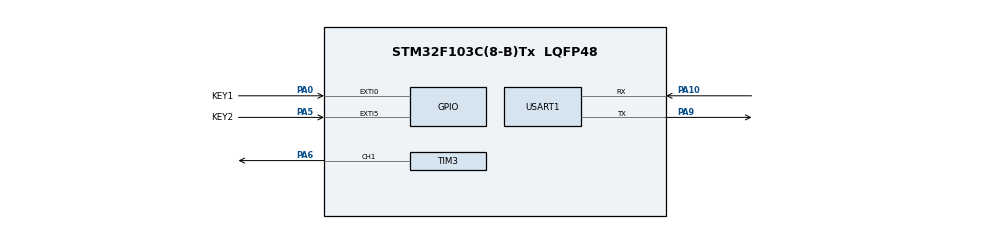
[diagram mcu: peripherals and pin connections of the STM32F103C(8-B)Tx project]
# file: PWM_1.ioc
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Mcu.Family=STM32F1
Mcu.Name=STM32F103C(8-B)Tx
Mcu.Package=LQFP48
NVIC.EXTI0_IRQn=true\:0\:0\:false\:false\:true\:true\:true\:true
NVIC.EXTI9_5_IRQn=true\:0\:0\:false\:false\:true\:true\:true\:true
NVIC.PriorityGroup=NVIC_PRIORITYGROUP_4
PA0-WKUP.GPIO_Label=KEY1
PA0-WKUP.Signal=GPXTI0
PA10.Mode=Asynchronous
PA10.Signal=USART1_RX
PA13.Mode=Serial_Wire
PA13.Signal=SYS_JTMS-SWDIO
PA14.Mode=Serial_Wire
PA14.Signal=SYS_JTCK-SWCLK
PA5.GPIO_Label=KEY2
PA5.Signal=GPXTI5
PA6.Signal=S_TIM3_CH1
PA9.Mode=Asynchronous
PA9.Signal=USART1_TX
ProjectManager.HeapSize=0x200
ProjectManager.StackSize=0x400
ProjectManager.TargetToolchain=MDK-ARM V5.32
RCC.APB1Freq_Value=8000000
RCC.APB2Freq_Value=8000000
SH.S_TIM3_CH1.0=TIM3_CH1,PWM Generation1 CH1
TIM3.Channel-PWM\ Generation1\ CH1=TIM_CHANNEL_1
TIM3.Period=199
TIM3.Prescaler=799
USART1.VirtualMode=VM_ASYNC
board=custom

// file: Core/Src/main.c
/* USER CODE BEGIN Header */
/**
  ******************************************************************************
  * @file           : main.c
  * @brief          : Main program body
  ******************************************************************************
  * @attention
  *
  * Copyright (c) 2022 STMicroelectronics.
  * All rights reserved.
  *
  * This software is licensed under terms that can be found in the LICENSE file
  * in the root directory of this software component.
  * If no LICENSE file comes with this software, it is provided AS-IS.
  *
  ******************************************************************************
  */
/* USER CODE END Header */
#include "main.h"
#include "tim.h"
#include "usart.h"
#include "gpio.h"

/* USER CODE BEGIN Includes */
#include <stdio.h>
/* USER CODE END Includes */

/* USER CODE BEGIN PD */
#define CCR_MAX 25  // CCR���ֵ
/* USER CODE END PD */

/* USER CODE BEGIN PV */
uint16_t CCR = 5;   // CCR��ʼֵ
uint16_t Step = 5;  // CCR����ֵ
/* USER CODE END PV */

void SystemClock_Config(void);

int main(void)
{

  /* MCU Configuration--------------------------------------------------------*/

  /* Reset of all peripherals, Initializes the Flash interface and the Systick. */
  HAL_Init();

  /* Configure the system clock */
  SystemClock_Config();

  /* Initialize all configured peripherals */
  MX_GPIO_Init();
  MX_TIM3_Init();
  MX_USART1_UART_Init();
  /* USER CODE BEGIN 2 */
  HAL_TIM_PWM_Start(&htim3, TIM_CHANNEL_1);
  /* USER CODE END 2 */

  /* Infinite loop */
  while (1)
  {

  }
}

void SystemClock_Config(void)
{
  RCC_OscInitTypeDef RCC_OscInitStruct = {0};
  RCC_ClkInitTypeDef RCC_ClkInitStruct = {0};

  /** Initializes the RCC Oscillators according to the specified parameters
  * in the RCC_OscInitTypeDef structure.
  */
  RCC_OscInitStruct.OscillatorType = RCC_OSCILLATORTYPE_HSI;
  RCC_OscInitStruct.HSIState = RCC_HSI_ON;
  RCC_OscInitStruct.HSICalibrationValue = RCC_HSICALIBRATION_DEFAULT;
  RCC_OscInitStruct.PLL.PLLState = RCC_PLL_NONE;
  if (HAL_RCC_OscConfig(&RCC_OscInitStruct) != HAL_OK)
  {
    Error_Handler();
  }

  /** Initializes the CPU, AHB and APB buses clocks
  */
  RCC_ClkInitStruct.ClockType = RCC_CLOCKTYPE_HCLK|RCC_CLOCKTYPE_SYSCLK
                              |RCC_CLOCKTYPE_PCLK1|RCC_CLOCKTYPE_PCLK2;
  RCC_ClkInitStruct.SYSCLKSource = RCC_SYSCLKSOURCE_HSI;
  RCC_ClkInitStruct.AHBCLKDivider = RCC_SYSCLK_DIV1;
  RCC_ClkInitStruct.APB1CLKDivider = RCC_HCLK_DIV1;
  RCC_ClkInitStruct.APB2CLKDivider = RCC_HCLK_DIV1;

  if (HAL_RCC_ClockConfig(&RCC_ClkInitStruct, FLASH_LATENCY_0) != HAL_OK)
  {
    Error_Handler();
  }
}

/* USER CODE BEGIN 4 */
void HAL_GPIO_EXTI_Callback(uint16_t GPIO_Pin)
{
  if(GPIO_Pin == KEY1_Pin)
  {
    (CCR >= CCR_MAX) ? (CCR = 5) : (CCR += Step);
    __HAL_TIM_SetCompare(&htim3, TIM_CHANNEL_1, CCR);
    printf("Sigle = %d", (CCR/5 - 1)*45);
    HAL_Delay(200);
  }
  else if (GPIO_Pin == KEY2_Pin)
  {
    (CCR <= 5) ? (CCR = CCR_MAX) : (CCR -= Step);
    __HAL_TIM_SetCompare(&htim3, TIM_CHANNEL_1, CCR);
    printf("Sigle = %d", (CCR/5 - 1)*45);
    HAL_Delay(200);
  }
}
int fputc (int ch, FILE *f)
{
    HAL_UART_Transmit(&huart1, (uint8_t *)&ch, 1, HAL_MAX_DELAY);
    return ch;
}
int fgetc(FILE *f)
{
    uint8_t ch = 0;
    HAL_UART_Receive(&huart1, (uint8_t *)&ch, 1, HAL_MAX_DELAY);
    return ch;
}

/* USER CODE END 4 */

void Error_Handler(void)
{
  __disable_irq();
  while (1)
  {
  }
}
